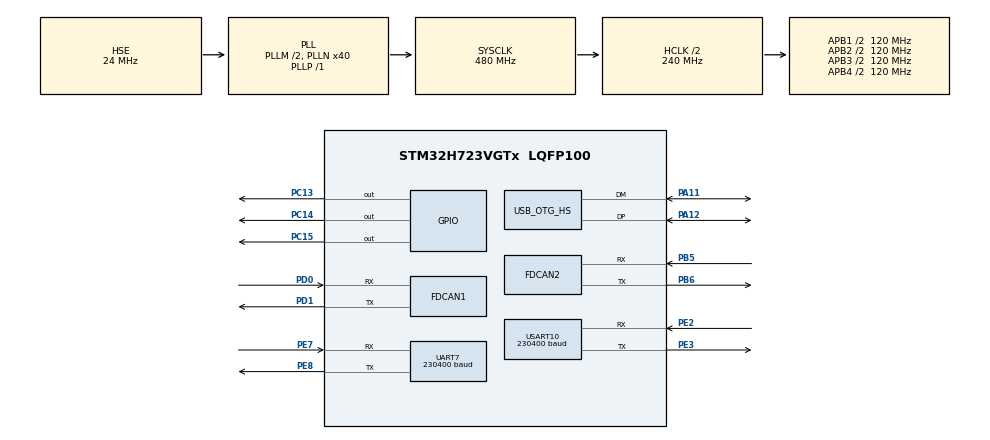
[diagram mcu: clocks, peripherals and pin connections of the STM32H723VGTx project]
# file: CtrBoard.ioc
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CORTEX_M7.CPU_DCache=Disabled
CORTEX_M7.CPU_ICache=Disabled
Dma.Request0=USART10_TX
Dma.USART10_TX.0.Direction=DMA_MEMORY_TO_PERIPH
Dma.USART10_TX.0.EventEnable=DISABLE
Dma.USART10_TX.0.FIFOMode=DMA_FIFOMODE_DISABLE
Dma.USART10_TX.0.Instance=DMA1_Stream0
Dma.USART10_TX.0.MemDataAlignment=DMA_MDATAALIGN_BYTE
Dma.USART10_TX.0.MemInc=DMA_MINC_ENABLE
Dma.USART10_TX.0.Mode=DMA_NORMAL
Dma.USART10_TX.0.PeriphDataAlignment=DMA_PDATAALIGN_BYTE
Dma.USART10_TX.0.PeriphInc=DMA_PINC_DISABLE
Dma.USART10_TX.0.Polarity=HAL_DMAMUX_REQ_GEN_RISING
Dma.USART10_TX.0.Priority=DMA_PRIORITY_MEDIUM
Dma.USART10_TX.0.RequestNumber=1
Dma.USART10_TX.0.SignalID=NONE
Dma.USART10_TX.0.SyncEnable=DISABLE
Dma.USART10_TX.0.SyncPolarity=HAL_DMAMUX_SYNC_NO_EVENT
Dma.USART10_TX.0.SyncRequestNumber=1
Dma.USART10_TX.0.SyncSignalID=NONE
FDCAN1.AutoRetransmission=ENABLE
FDCAN1.CalculateBaudRateNominal=1000000
FDCAN1.CalculateTimeBitNominal=1000
FDCAN1.CalculateTimeQuantumNominal=12.5
FDCAN1.DataPrescaler=1
FDCAN1.DataSyncJumpWidth=2
FDCAN1.DataTimeSeg1=13
FDCAN1.DataTimeSeg2=2
FDCAN1.ExtFiltersNbr=4
FDCAN1.FrameFormat=FDCAN_FRAME_FD_BRS
FDCAN1.NominalPrescaler=1
FDCAN1.NominalSyncJumpWidth=20
FDCAN1.NominalTimeSeg1=59
FDCAN1.NominalTimeSeg2=20
FDCAN1.ProtocolException=ENABLE
FDCAN1.RxBufferSize=FDCAN_DATA_BYTES_8
FDCAN1.RxBuffersNbr=2
FDCAN1.RxFifo0ElmtSize=FDCAN_DATA_BYTES_8
FDCAN1.RxFifo0ElmtsNbr=10
FDCAN1.RxFifo1ElmtSize=FDCAN_DATA_BYTES_8
FDCAN1.RxFifo1ElmtsNbr=10
FDCAN1.StdFiltersNbr=4
FDCAN1.TxBuffersNbr=10
FDCAN1.TxElmtSize=FDCAN_DATA_BYTES_8
FDCAN1.TxEventsNbr=10
FDCAN1.TxFifoQueueElmtsNbr=10
FDCAN2.AutoRetransmission=ENABLE
FDCAN2.CalculateBaudRateNominal=1000000
FDCAN2.CalculateTimeBitNominal=1000
FDCAN2.CalculateTimeQuantumNominal=12.5
FDCAN2.DataSyncJumpWidth=2
FDCAN2.DataTimeSeg1=13
FDCAN2.DataTimeSeg2=2
FDCAN2.ExtFiltersNbr=4
FDCAN2.FrameFormat=FDCAN_FRAME_FD_BRS
FDCAN2.MessageRAMOffset=0x100
FDCAN2.NominalPrescaler=1
FDCAN2.NominalSyncJumpWidth=20
FDCAN2.NominalTimeSeg1=59
FDCAN2.NominalTimeSeg2=20
FDCAN2.ProtocolException=ENABLE
FDCAN2.RxBuffersNbr=2
FDCAN2.RxFifo0ElmtsNbr=10
FDCAN2.RxFifo1ElmtsNbr=10
FDCAN2.StdFiltersNbr=4
FDCAN2.TransmitPause=DISABLE
FDCAN2.TxBuffersNbr=10
FDCAN2.TxEventsNbr=10
FDCAN2.TxFifoQueueElmtsNbr=10
Mcu.Family=STM32H7
Mcu.Name=STM32H723VGTx
Mcu.Package=LQFP100
NVIC.DMA1_Stream0_IRQn=true\:0\:0\:false\:false\:true\:false\:true\:true
NVIC.FDCAN1_IT0_IRQn=true\:0\:0\:false\:false\:true\:true\:true\:true
NVIC.FDCAN1_IT1_IRQn=true\:0\:0\:false\:false\:true\:true\:true\:true
NVIC.FDCAN2_IT0_IRQn=true\:0\:0\:false\:false\:true\:true\:true\:true
NVIC.FDCAN2_IT1_IRQn=true\:0\:0\:false\:false\:true\:true\:true\:true
NVIC.FDCAN_CAL_IRQn=true\:0\:0\:false\:false\:true\:true\:true\:true
NVIC.OTG_HS_IRQn=true\:0\:0\:false\:false\:true\:false\:true\:true
NVIC.PriorityGroup=NVIC_PRIORITYGROUP_4
NVIC.TIM3_IRQn=true\:0\:0\:false\:false\:true\:true\:true\:true
NVIC.TIM4_IRQn=true\:1\:0\:true\:false\:true\:true\:true\:true
NVIC.UART7_IRQn=true\:0\:0\:false\:false\:true\:true\:true\:true
NVIC.USART10_IRQn=true\:0\:0\:true\:false\:true\:true\:true\:true
PA10.Signal=USART1_RX
PA11.Mode=Device_Only_FS
PA11.Signal=USB_OTG_HS_DM
PA12.Mode=Device_Only_FS
PA12.Signal=USB_OTG_HS_DP
PA13(JTMS/SWDIO).Mode=Serial_Wire
PA13(JTMS/SWDIO).Signal=DEBUG_JTMS-SWDIO
PA14(JTCK/SWCLK).Mode=Serial_Wire
PA14(JTCK/SWCLK).Signal=DEBUG_JTCK-SWCLK
PA9.Signal=USART1_TX
PB5.Mode=FDCAN_Activate
PB5.Signal=FDCAN2_RX
PB6.Mode=FDCAN_Activate
PB6.Signal=FDCAN2_TX
PC13.Signal=GPIO_Output
PC14-OSC32_IN.Signal=GPIO_Output
PC15-OSC32_OUT.Signal=GPIO_Output
PD0.Mode=FDCAN_Activate
PD0.Signal=FDCAN1_RX
PD1.Mode=FDCAN_Activate
PD1.Signal=FDCAN1_TX
PE2.Mode=Asynchronous
PE2.Signal=USART10_RX
PE3.Mode=Asynchronous
PE3.Signal=USART10_TX
PE7.Mode=Asynchronous
PE7.Signal=UART7_RX
PE8.Mode=Asynchronous
PE8.Signal=UART7_TX
PH0-OSC_IN.Mode=HSE-External-Oscillator
PH0-OSC_IN.Signal=RCC_OSC_IN
PH1-OSC_OUT.Mode=HSE-External-Oscillator
PH1-OSC_OUT.Signal=RCC_OSC_OUT
ProjectManager.HeapSize=0x2000
ProjectManager.StackSize=0x400
ProjectManager.TargetToolchain=MDK-ARM V5.32
RCC.ADCFreq_Value=48375000
RCC.APB1Freq_Value=120000000
RCC.APB2Freq_Value=120000000
RCC.APB3Freq_Value=120000000
RCC.APB4Freq_Value=120000000
RCC.CortexFreq_Value=480000000
RCC.D1PPRE=RCC_APB3_DIV2
RCC.D2PPRE1=RCC_APB1_DIV2
RCC.D2PPRE2=RCC_APB2_DIV2
RCC.D3PPRE=RCC_APB4_DIV2
RCC.DIVM1=2
RCC.DIVN1=40
RCC.DIVP1=1
RCC.DIVQ1=6
RCC.HCLKFreq_Value=240000000
RCC.HPRE=RCC_HCLK_DIV2
RCC.HSE_VALUE=24000000
RCC.PLLFRACN=0
RCC.PLLSourceVirtual=RCC_PLLSOURCE_HSE
RCC.RCC_MCO1Source=RCC_MCO1SOURCE_HSE
RCC.SYSCLKFreq_VALUE=480000000
RCC.SYSCLKSource=RCC_SYSCLKSOURCE_PLLCLK
RCC.USBCLockSelection=RCC_USBCLKSOURCE_HSI48
RCC.USBFreq_Value=48000000
TIM3.Period=10000-1
TIM3.Prescaler=240-1
TIM4.Period=10000-1
TIM4.Prescaler=240-1
UART7.BaudRate=230400
USART10.BaudRate=230400
USART10.VirtualMode=VM_ASYNC
USB_DEVICE.CLASS_NAME_HS=CDC
USB_DEVICE.VirtualMode=Cdc
USB_DEVICE.VirtualModeHS=Cdc_HS
USB_OTG_HS.VirtualMode-Device_Only_FS=Device_Only_FS
VP_MEMORYMAP_VS_MEMORYMAP.Mode=CurAppReg
VP_TIM3_VS_ClockSourceINT.Mode=Internal
VP_TIM4_VS_ClockSourceINT.Mode=Internal
VP_USB_DEVICE_VS_USB_DEVICE_CDC_HS.Mode=CDC_HS
board=custom

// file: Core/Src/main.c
/* USER CODE BEGIN Header */
/**
  ******************************************************************************
  * @file           : main.c
  * @brief          : Main program body
  ******************************************************************************
  * @attention
  *
  * Copyright (c) 2024 STMicroelectronics.
  * All rights reserved.
  *
  * This software is licensed under terms that can be found in the LICENSE file
  * in the root directory of this software component.
  * If no LICENSE file comes with this software, it is provided AS-IS.
  *
  ******************************************************************************
  */
/* USER CODE END Header */
#include "main.h"
#include "dma.h"
#include "fdcan.h"
#include "tim.h"
#include "usart.h"
#include "usb_device.h"
#include "gpio.h"

/* USER CODE BEGIN Includes */
#include "bsp_fdcan.h"
#include "dm_motor_ctrl.h"
#include "delay.h"
#include <stdio.h> /* printf */
#include "pid.h"
#include "stdbool.h"
#include <math.h>
#include "cubemars_motor_ctrl.h" // CubeMars header file
#include "ros_protocol.h"

/* USER CODE END Includes */

/* USER CODE BEGIN PTD */
#ifndef M_PI
#define M_PI 3.14159265358979323846
#endif

/* ====== Constants ====== */
#define ENC_MOD 8192 // 13-bit encoder modulus
#define ENC_HALF 4096
#define TICKS_TO_RAD (2.0f * (float)M_PI / (float)ENC_MOD)
#define RAD_TO_TICKS ((float)ENC_MOD / (2.0f * (float)M_PI))

/* ====== Helpers ====== */

// Shortest signed difference in encoder ticks in [-4096, 4095]
static inline int32_t wrap_diff_ticks(int32_t tgt, int32_t meas)
{
  int32_t d = tgt - meas;
  while (d > ENC_HALF) d -= ENC_MOD;
  while (d < -ENC_HALF) d += ENC_MOD;
  return d;
}

// Clamp utility
static inline float clampf(float x, float lo, float hi)
{
  if (x < lo) return lo;
  if (x > hi) return hi;
  return x;
}

static inline float rpm_to_rad_s(float rpm) {
    return rpm * (2.0f * (float)M_PI / 60.0f);
}

/* ====== Derivative (first-order low-pass filtered) ======
Given current error e and previous filtered derivative d_filt,
compute new filtered derivative to reduce noise.
alpha in (0,1): smaller => more smoothing.
*/
typedef struct {
  float prev_err;
  float d_filt;
  float alpha; // e.g., 0.1f .. 0.3f (tune)
} DerivLPF;

static inline void derivlpf_init(DerivLPF* d, float alpha)
{
  d->prev_err = 0.0f;
  d->d_filt = 0.0f;
  d->alpha = alpha;
}

static inline float derivlpf_update(DerivLPF* d, float err, float dt)
{
  float raw = (err - d->prev_err) / (dt > 1e-6f ? dt : 1e-6f);
  d->d_filt = d->alpha * raw + (1.0f - d->alpha) * d->d_filt;
  d->prev_err = err;
  return d->d_filt;
}

/* ====== PD block ====== */
typedef struct {
  float kp;
  float kd;
  DerivLPF d;
} PD;

static inline void pd_init(PD* c, float kp, float kd, float d_alpha)
{
  c->kp = kp; c->kd = kd;
  derivlpf_init(&c->d, d_alpha);
}

static inline float pd_update(PD* c, float err, float dt)
{
  float de = derivlpf_update(&c->d, err, dt);
  return c->kp * err + c->kd * de;
}

static inline float pd_update1(PD* c, float err, float dt)
{
  float de = derivlpf_update(&c->d, err, dt);
  return c->kp * err + c->kd * de;
}

/* ====== Double-Loop PD Controller ====== */
typedef struct {
  // Position loop (outputs target speed)
  PD pos_pd;
  float w_ref_limit; // |target speed| limit (rad/s)
  // Speed loop (outputs current)
  PD    vel_pd;
  float current_limit;     // |current| limit, e.g. 10000
  // State for speed estimation
  uint16_t prev_pos_ticks;
  int      has_prev;       // 0 until first update
} DJI2006_PD_Controller;

static inline void dji2006_pd_init(DJI2006_PD_Controller* ctl,
float kp_pos, float kd_pos, float pos_d_alpha,
float kp_vel, float kd_vel, float vel_d_alpha,
float w_ref_limit, float current_limit)
{
  pd_init(&ctl->pos_pd, kp_pos, kd_pos, pos_d_alpha);
  pd_init(&ctl->vel_pd, kp_vel, kd_vel, vel_d_alpha);
  ctl->w_ref_limit = w_ref_limit;
  ctl->current_limit = current_limit;
  ctl->prev_pos_ticks = 0;
  ctl->has_prev = 0;
}

/* ====== Main update ======
Inputs:
target_pos_ticks ∈ [0,8191]
meas_pos_ticks ∈ [0,8191]
dt (s), controller timestep
Output:
commanded current in [-10000, 10000]
*/

float temp_rf;
float temp_ms;

static inline float dji2006_pd_update_with_rpm(DJI2006_PD_Controller* ctl,
                                               int32_t target_pos_ticks,
                                               int32_t meas_total_ang,
                                               float meas_rpm,
                                               float dt)
{
    // --- Outer loop: position error (radians, shortest wrap path)
    int32_t e_ticks = target_pos_ticks-meas_total_ang;
    float   e_pos   = (float)e_ticks * TICKS_TO_RAD;  // rad

    // Position PD -> target speed (rad/s)
    float w_ref = pd_update1(&ctl->pos_pd, e_pos, dt);
    w_ref = clampf(w_ref, -ctl->w_ref_limit, ctl->w_ref_limit);

    // --- Inner loop: use ESC-measured speed in RPM
    float w_meas = rpm_to_rad_s(meas_rpm);            // rad/s

    float e_w   = w_ref - w_meas;                     // rad/s error
    float i_cmd = pd_update(&ctl->vel_pd, e_w, dt);   // current command

    // Clamp to ESC current limits ([-10000, 10000])
    i_cmd = clampf(i_cmd, -ctl->current_limit, ctl->current_limit);
    return i_cmd;
}

/* ====== System State Machine & Handshake Protocol Definition ====== */
typedef enum {
    STATE_WAKE_DAMIAO = 0,    // Wake up Damiao motors and lock current position
    STATE_WAIT_HOST_CONNECT,  // Wait for ROS2 to knock
    STATE_WAIT_ROS_MOVE,      // Wait for ROS2 to take over the upper arm and move to the drop point
    STATE_WAIT_SETTLE,        // Received ROS2 in-position signal, wait for gravity settling
    STATE_CALIBRATE_ZERO,     // AKE physical zeroing
    STATE_NORMAL_RUN          // Initialization completely finished, full control handed over to ROS2
} SystemState_t;

volatile SystemState_t system_state = STATE_WAKE_DAMIAO;

// Forearm Offset (fill in according to your measurement, unit: radians)
// Definition: The angle of the physical limit position in the URDF coordinate system
// Assumption: When hanging down and touching the limit, it is -150 degrees in URDF
#define FOREARM_OFFSET (0.0f)  // rad

// Special frame header for serial handshake frame
#define SYS_CMD_HEADER  0xEE
// Event codes sent to ROS2
#define EVENT_DAMIAO_READY 0x01 // Tell ROS2: Damiao is ready
#define EVENT_ALL_READY    0x02 // Tell ROS2: Homing completed, all locks released
// Event codes received from ROS2
#define CMD_REACHED_DROP_POSE 0x01 // ROS2 tells MCU: Upper arm is in position
// Receive from ROS2: Host connection knock
#define CMD_HOST_CONNECT 0x10

// Modify init_flag_3 to false, it now represents whether homing is completed
bool init_flag_3 = false;

// Add a timer for state switching
volatile uint32_t state_timer = 0;

/* USER CODE END PTD */

/* USER CODE BEGIN PV */

// Motor position variables
float motor1_pos = 0.0f;
float motor2_pos = 0.0f;
float motor3_pos = 0.0f;
float motor4_pos = 0.0f;
float motor5_pos = 0.0f;
float motor6_pos = 0.0f;

// dji
DJI2006_PD_Controller ctrl;
int32_t target_position = 0;

// init_flag
// Initially, all init_flags should be false. If set to true, the initialization success detection routine will skip the motor;
bool init_flag_1 = false;
bool init_flag_2 = false;

bool init_flag_4 = true;
bool init_flag_5 = true;

// Initially, it should be true
bool first_moto_cb = true;

/* USER CODE END PV */

void SystemClock_Config(void);

/* USER CODE BEGIN 0 */

/* DJI motor PID calculation begin */
void setup_controller(void)
{
  // Tune these gains for your rig. Start conservative.
  float kp_pos = 44.0f; // [A/(rad·s)] indirectly via inner loop; start low
  float kd_pos = 0.0f;  // [A/rad] effect via filtered derivative

  float kp_vel = 50.0f; // [current / (rad/s)]
  float kd_vel = 0.0f;  // [current / (rad/s^2)]
  float pos_d_alpha = 1.0f;
  float vel_d_alpha = 0.1f;

  float w_ref_limit   = 144.0f;     // rad/s (~764 rpm) cap for safety
  float current_limit = 10000.0f;   // ESC range

  dji2006_pd_init(&ctrl,
      kp_pos, kd_pos, pos_d_alpha,
      kp_vel, kd_vel, vel_d_alpha,
      w_ref_limit, current_limit);
}

// Suppose your CAN parser gives you: int16_t speed_rpm;  // signed rpm from ESC
float control_step_rpm(int32_t target_ticks,
                       float dt)
{
    // NOTE: ensure your rpm sign convention matches your current sign
    //       (positive rpm increases encoder ticks in positive direction).
    int32_t meas_ticks = moto_dji2006.total_angle;
    int16_t speed = moto_dji2006.speed_rpm;
    return dji2006_pd_update_with_rpm(&ctrl, target_ticks, meas_ticks,
                                      (float)speed, dt);
}
/* DJI motor PID calculation end */

void HAL_TIM_PeriodElapsedCallback(TIM_HandleTypeDef *htim)
{
  /* USER CODE BEGIN Callback 0 */
    if (htim->Instance == TIM3) {

        // 1. Update all motor targets dynamically via USB ROS2 matrix
        Protocol_Execute_Router();

        // 2. Broadcast DM Motors CAN frames
        dm_motor_ctrl_send(&hfdcan1, &motor[Motor1]);
        dm_motor_ctrl_send(&hfdcan1, &motor[Motor2]);
        dm_motor_ctrl_send(&hfdcan2, &motor[Motor4]);
        dm_motor_ctrl_send(&hfdcan2, &motor[Motor5]);

        // 3. Broadcast CubeMars CAN frame (with initialization safety lock)
        if (init_flag_3 == true) {
            cm_motor_ctrl_send(&hfdcan2, &cm_motor[0]);
        } else {
            cm_motor_probe(&hfdcan2, &cm_motor[0]);
        }

        // 4. Broadcast DJI 2006 CAN frame
        float i_send = control_step_rpm(target_position, 0.01f);
        set_moto_current(&hfdcan2, 0x1ff, (int16_t)i_send);
    }
    if (htim->Instance == TIM4) {
         Protocol_Send_Feedback();
    }
}
/* USER CODE END 0 */

int main(void)
{

  /* MCU Configuration--------------------------------------------------------*/

  /* Reset of all peripherals, Initializes the Flash interface and the Systick. */
  HAL_Init();

  /* Configure the system clock */
  SystemClock_Config();

  /* Initialize all configured peripherals */
  MX_GPIO_Init();
  MX_DMA_Init();
  MX_FDCAN1_Init();
  MX_TIM3_Init();
  MX_TIM4_Init();
  MX_FDCAN2_Init();
  MX_UART7_Init();
  MX_USART10_UART_Init();
  MX_USB_DEVICE_Init();
  /* USER CODE BEGIN 2 */
    power1(1);
    power2(1);
    power3(1);
    HAL_Delay(3000);
    bsp_fdcan_set_baud(&hfdcan1, CAN_CLASS, CAN_BR_1M);
    bsp_fdcan_set_baud(&hfdcan2, CAN_CLASS, CAN_BR_1M);
    bsp_can_init();
    dm_motor_init();

    // Initialize CubeMars motor parameters, when in pos_spd mode use degree, while in mit mode use rad
    cubemars_motor_init();
    setup_controller();
  /* USER CODE END 2 */

  /* Infinite loop */
  while (1)
  {

    /* USER CODE BEGIN 3 */
    switch (system_state)
    {
        case STATE_WAKE_DAMIAO:
            dm_motor_enable(&hfdcan1, &motor[Motor1]);
            dm_motor_enable(&hfdcan1, &motor[Motor2]);
            dm_motor_enable(&hfdcan2, &motor[Motor4]);
            dm_motor_enable(&hfdcan2, &motor[Motor5]);

            if (init_flag_1 && init_flag_2 && init_flag_4 && init_flag_5) {
                HAL_Delay(100);

                // Lock current positions
                motor[Motor1].ctrl.pos_set = motor[Motor1].para.pos;
                motor[Motor2].ctrl.pos_set = motor[Motor2].para.pos;
                motor[Motor4].ctrl.pos_set = motor[Motor4].para.pos;
                motor[Motor5].ctrl.pos_set = motor[Motor5].para.pos;

                // Start high-speed interrupt engines
                HAL_TIM_Base_Start_IT(&htim4);
                HAL_TIM_Base_Start_IT(&htim3);

                system_state = STATE_WAIT_HOST_CONNECT;
            }
            HAL_Delay(500);
            break;

        case STATE_WAIT_HOST_CONNECT:
            // [Implicit Handshake 1: Detect Heartbeat]
            // No more serial commands needed! As long as the USB RX watchdog timestamp is updated,
            // and the delta is less than 50ms, it means ROS2 is connected and spamming data at 100Hz!
            if (last_usb_rx_time != 0 && (HAL_GetTick() - last_usb_rx_time < 50)) {
                system_state = STATE_WAIT_ROS_MOVE;
            }
            break;

        case STATE_WAIT_ROS_MOVE:
            // [Implicit Handshake 2: Feature Value Trigger]
            // We agreed with the future ROS2 node: when the upper arm slowly moves to the drop position,
            // ROS2 intentionally sets the mode byte for the 1st motor to 0x10 (normally only 0, 1, 2).
            // Once the MCU sees 0x10, it understands immediately: ROS2 says it's in position!
            if (Current_Target_Cmd.modes[0] == 0x10) {
                state_timer = HAL_GetTick();
                system_state = STATE_WAIT_SETTLE;
            }
            break;

        case STATE_WAIT_SETTLE:
            // Received in-position signal, hard wait for 2 seconds to let the forearm settle against the limit via gravity
            if (HAL_GetTick() - state_timer > 2000) {
                system_state = STATE_CALIBRATE_ZERO;
            }
            break;

        case STATE_CALIBRATE_ZERO:
            // Physical zeroing
            cm_motor_set_absolute_zero(&hfdcan2, &cm_motor[0], 0);
            HAL_Delay(500);

//            cm_motor[0].ctrl.pos_set = 0.0f;
            init_flag_3 = true;

            // Removed the original send_system_event_to_ros, directly enter takeover state!
            system_state = STATE_NORMAL_RUN;
            break;

        case STATE_NORMAL_RUN:
            // Now it's ROS2's world, the MCU main loop just idles and rests
            break;
    }
    }
  /* USER CODE END 3 */
}

void SystemClock_Config(void)
{
  RCC_OscInitTypeDef RCC_OscInitStruct = {0};
  RCC_ClkInitTypeDef RCC_ClkInitStruct = {0};

  /** Supply configuration update enable
  */
  HAL_PWREx_ConfigSupply(PWR_LDO_SUPPLY);

  /** Configure the main internal regulator output voltage
  */
  __HAL_PWR_VOLTAGESCALING_CONFIG(PWR_REGULATOR_VOLTAGE_SCALE0);

  while(!__HAL_PWR_GET_FLAG(PWR_FLAG_VOSRDY)) {}

  /** Initializes the RCC Oscillators according to the specified parameters
  * in the RCC_OscInitTypeDef structure.
  */
  RCC_OscInitStruct.OscillatorType = RCC_OSCILLATORTYPE_HSI48|RCC_OSCILLATORTYPE_HSE;
  RCC_OscInitStruct.HSEState = RCC_HSE_ON;
  RCC_OscInitStruct.HSI48State = RCC_HSI48_ON;
  RCC_OscInitStruct.PLL.PLLState = RCC_PLL_ON;
  RCC_OscInitStruct.PLL.PLLSource = RCC_PLLSOURCE_HSE;
  RCC_OscInitStruct.PLL.PLLM = 2;
  RCC_OscInitStruct.PLL.PLLN = 40;
  RCC_OscInitStruct.PLL.PLLP = 1;
  RCC_OscInitStruct.PLL.PLLQ = 6;
  RCC_OscInitStruct.PLL.PLLR = 2;
  RCC_OscInitStruct.PLL.PLLRGE = RCC_PLL1VCIRANGE_3;
  RCC_OscInitStruct.PLL.PLLVCOSEL = RCC_PLL1VCOWIDE;
  RCC_OscInitStruct.PLL.PLLFRACN = 0;
  if (HAL_RCC_OscConfig(&RCC_OscInitStruct) != HAL_OK)
  {
    Error_Handler();
  }

  /** Initializes the CPU, AHB and APB buses clocks
  */
  RCC_ClkInitStruct.ClockType = RCC_CLOCKTYPE_HCLK|RCC_CLOCKTYPE_SYSCLK
                              |RCC_CLOCKTYPE_PCLK1|RCC_CLOCKTYPE_PCLK2
                              |RCC_CLOCKTYPE_D3PCLK1|RCC_CLOCKTYPE_D1PCLK1;
  RCC_ClkInitStruct.SYSCLKSource = RCC_SYSCLKSOURCE_PLLCLK;
  RCC_ClkInitStruct.SYSCLKDivider = RCC_SYSCLK_DIV1;
  RCC_ClkInitStruct.AHBCLKDivider = RCC_HCLK_DIV2;
  RCC_ClkInitStruct.APB3CLKDivider = RCC_APB3_DIV2;
  RCC_ClkInitStruct.APB1CLKDivider = RCC_APB1_DIV2;
  RCC_ClkInitStruct.APB2CLKDivider = RCC_APB2_DIV2;
  RCC_ClkInitStruct.APB4CLKDivider = RCC_APB4_DIV2;

  if (HAL_RCC_ClockConfig(&RCC_ClkInitStruct, FLASH_LATENCY_3) != HAL_OK)
  {
    Error_Handler();
  }
}

/* USER CODE BEGIN 4 */
int fputc(int ch, FILE *f) {
    HAL_UART_Transmit(&huart10, (uint8_t *)&ch, 1, HAL_MAX_DELAY);
    return ch;
}

/* USER CODE END 4 */

void Error_Handler(void)
{
  __disable_irq();
  while (1)
  {
  }
}
